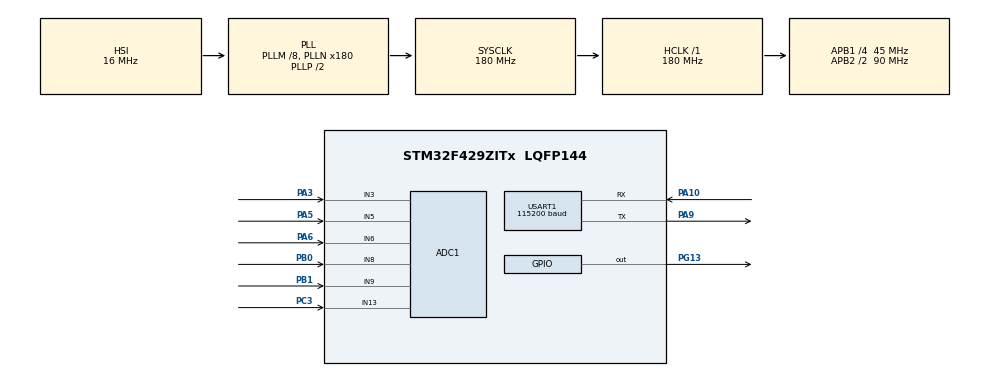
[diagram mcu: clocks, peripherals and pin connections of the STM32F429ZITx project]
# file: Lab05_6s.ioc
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ADC1.Channel-0\#ChannelRegularConversion=ADC_CHANNEL_13
ADC1.Channel-1\#ChannelRegularConversion=ADC_CHANNEL_3
ADC1.Channel-2\#ChannelRegularConversion=ADC_CHANNEL_5
ADC1.Channel-3\#ChannelRegularConversion=ADC_CHANNEL_9
ADC1.Channel-4\#ChannelRegularConversion=ADC_CHANNEL_6
ADC1.Channel-5\#ChannelRegularConversion=ADC_CHANNEL_8
ADC1.ClockPrescaler=ADC_CLOCK_SYNC_PCLK_DIV8
ADC1.ContinuousConvMode=ENABLE
ADC1.DMAContinuousRequests=ENABLE
ADC1.NbrOfConversion=6
ADC1.NbrOfConversionFlag=1
ADC1.Rank-0\#ChannelRegularConversion=1
ADC1.Rank-1\#ChannelRegularConversion=2
ADC1.Rank-2\#ChannelRegularConversion=3
ADC1.Rank-3\#ChannelRegularConversion=4
ADC1.Rank-4\#ChannelRegularConversion=5
ADC1.Rank-5\#ChannelRegularConversion=6
ADC1.SamplingTime-0\#ChannelRegularConversion=ADC_SAMPLETIME_480CYCLES
ADC1.SamplingTime-1\#ChannelRegularConversion=ADC_SAMPLETIME_480CYCLES
ADC1.SamplingTime-2\#ChannelRegularConversion=ADC_SAMPLETIME_480CYCLES
ADC1.SamplingTime-3\#ChannelRegularConversion=ADC_SAMPLETIME_480CYCLES
ADC1.SamplingTime-4\#ChannelRegularConversion=ADC_SAMPLETIME_480CYCLES
ADC1.SamplingTime-5\#ChannelRegularConversion=ADC_SAMPLETIME_480CYCLES
ADC1.ScanConvMode=ENABLE
ADC1.master=1
Dma.ADC1.0.Direction=DMA_PERIPH_TO_MEMORY
Dma.ADC1.0.FIFOMode=DMA_FIFOMODE_DISABLE
Dma.ADC1.0.Instance=DMA2_Stream0
Dma.ADC1.0.MemDataAlignment=DMA_MDATAALIGN_WORD
Dma.ADC1.0.MemInc=DMA_MINC_ENABLE
Dma.ADC1.0.Mode=DMA_CIRCULAR
Dma.ADC1.0.PeriphDataAlignment=DMA_PDATAALIGN_WORD
Dma.ADC1.0.PeriphInc=DMA_PINC_DISABLE
Dma.ADC1.0.Priority=DMA_PRIORITY_LOW
Dma.Request0=ADC1
Mcu.Family=STM32F4
Mcu.Name=STM32F429ZITx
Mcu.Package=LQFP144
NVIC.DMA2_Stream0_IRQn=true\:1\:0\:true\:false\:true\:false\:true
NVIC.PriorityGroup=NVIC_PRIORITYGROUP_2
PA10.Mode=Asynchronous
PA10.Signal=USART1_RX
PA3.Signal=ADCx_IN3
PA5.Signal=ADCx_IN5
PA6.Signal=ADCx_IN6
PA9.Mode=Asynchronous
PA9.Signal=USART1_TX
PB0.Signal=ADCx_IN8
PB1.Signal=ADCx_IN9
PC3.Signal=ADCx_IN13
PG13.GPIO_PuPd=GPIO_NOPULL
PG13.Signal=GPIO_Output
ProjectManager.HeapSize=0x200
ProjectManager.StackSize=0x400
ProjectManager.TargetToolchain=STM32CubeIDE
RCC.48MHZClocksFreq_Value=90000000
RCC.AHBFreq_Value=180000000
RCC.APB1CLKDivider=RCC_HCLK_DIV4
RCC.APB1Freq_Value=45000000
RCC.APB1TimFreq_Value=90000000
RCC.APB2CLKDivider=RCC_HCLK_DIV2
RCC.APB2Freq_Value=90000000
RCC.APB2TimFreq_Value=180000000
RCC.CortexFreq_Value=180000000
RCC.HCLKFreq_Value=180000000
RCC.HSE_VALUE=25000000
RCC.HSI_VALUE=16000000
RCC.LSE_VALUE=32768
RCC.PLLM=8
RCC.PLLN=180
RCC.SYSCLKFreq_VALUE=180000000
RCC.SYSCLKSource=RCC_SYSCLKSOURCE_PLLCLK
RCC.VCOOutputFreq_Value=360000000
SH.ADCx_IN13.0=ADC1_IN13,IN13
SH.ADCx_IN3.0=ADC1_IN3,IN3
SH.ADCx_IN5.0=ADC1_IN5,IN5
SH.ADCx_IN6.0=ADC1_IN6,IN6
SH.ADCx_IN8.0=ADC1_IN8,IN8
SH.ADCx_IN9.0=ADC1_IN9,IN9
USART1.BaudRate=115200
USART1.VirtualMode=VM_ASYNC
board=custom

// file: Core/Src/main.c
/* USER CODE BEGIN Header */
/**
  ******************************************************************************
  * @file           : main.c
  * @brief          : Main program body
  ******************************************************************************
  * @attention
  *
  * <h2><center>&copy; Copyright (c) 2021 STMicroelectronics.
  * All rights reserved.</center></h2>
  *
  * This software component is licensed by ST under BSD 3-Clause license,
  * the "License"; You may not use this file except in compliance with the
  * License. You may obtain a copy of the License at:
  *                        opensource.org/licenses/BSD-3-Clause
  *
  ******************************************************************************
  */
/* USER CODE END Header */
#include "main.h"
#include "adc.h"
#include "dma.h"
#include "usart.h"
#include "gpio.h"

void SystemClock_Config(void);

/* USER CODE BEGIN 0 */

uint8_t ch = 6;
uint32_t adc_val[6];
uint32_t num[6] = {13,3,5,9,6,8};

void displayHEX(uint32_t value[]){

	char hexString[60];

	for(uint8_t i = 0; i<ch; i++){
		sprintf(hexString,"ADC1_CH%d 0x%08X Vin = %.2f V RawValue = %d\r\n",num[i], value[i], value[i]*3.3/4096.0, value[i]);
		HAL_UART_Transmit(&huart1, (uint8_t*) hexString, strlen(hexString), 1000);
	}

	sprintf(hexString,"------------------------------------------\r\n");
	HAL_UART_Transmit(&huart1, (uint8_t*) hexString, strlen(hexString), 1000);

}

/* USER CODE END 0 */

int main(void)
{

  /* MCU Configuration--------------------------------------------------------*/

  /* Reset of all peripherals, Initializes the Flash interface and the Systick. */
  HAL_Init();

  /* Configure the system clock */
  SystemClock_Config();

  /* Initialize all configured peripherals */
  MX_GPIO_Init();
  MX_DMA_Init();
  MX_ADC1_Init();
  MX_USART1_UART_Init();
  /* USER CODE BEGIN 2 */

  char hexString[80];
  sprintf(hexString,"------------------------------------------\r\n");
  HAL_UART_Transmit(&huart1, (uint8_t*) hexString, strlen(hexString), 100);

  HAL_ADC_Start_DMA(&hadc1, adc_val, ch);

  /* USER CODE END 2 */

  /* Infinite loop */
  /* USER CODE BEGIN WHILE */
  while (1)
  {

//	displayHEX(adc_val);
//	HAL_Delay(150);

    /* USER CODE END WHILE */

  }
}

void SystemClock_Config(void)
{
  RCC_OscInitTypeDef RCC_OscInitStruct = {0};
  RCC_ClkInitTypeDef RCC_ClkInitStruct = {0};

  /** Configure the main internal regulator output voltage
  */
  __HAL_RCC_PWR_CLK_ENABLE();
  __HAL_PWR_VOLTAGESCALING_CONFIG(PWR_REGULATOR_VOLTAGE_SCALE1);
  /** Initializes the RCC Oscillators according to the specified parameters
  * in the RCC_OscInitTypeDef structure.
  */
  RCC_OscInitStruct.OscillatorType = RCC_OSCILLATORTYPE_HSI;
  RCC_OscInitStruct.HSIState = RCC_HSI_ON;
  RCC_OscInitStruct.HSICalibrationValue = RCC_HSICALIBRATION_DEFAULT;
  RCC_OscInitStruct.PLL.PLLState = RCC_PLL_ON;
  RCC_OscInitStruct.PLL.PLLSource = RCC_PLLSOURCE_HSI;
  RCC_OscInitStruct.PLL.PLLM = 8;
  RCC_OscInitStruct.PLL.PLLN = 180;
  RCC_OscInitStruct.PLL.PLLP = RCC_PLLP_DIV2;
  RCC_OscInitStruct.PLL.PLLQ = 4;
  if (HAL_RCC_OscConfig(&RCC_OscInitStruct) != HAL_OK)
  {
    Error_Handler();
  }
  /** Activate the Over-Drive mode
  */
  if (HAL_PWREx_EnableOverDrive() != HAL_OK)
  {
    Error_Handler();
  }
  /** Initializes the CPU, AHB and APB buses clocks
  */
  RCC_ClkInitStruct.ClockType = RCC_CLOCKTYPE_HCLK|RCC_CLOCKTYPE_SYSCLK
                              |RCC_CLOCKTYPE_PCLK1|RCC_CLOCKTYPE_PCLK2;
  RCC_ClkInitStruct.SYSCLKSource = RCC_SYSCLKSOURCE_PLLCLK;
  RCC_ClkInitStruct.AHBCLKDivider = RCC_SYSCLK_DIV1;
  RCC_ClkInitStruct.APB1CLKDivider = RCC_HCLK_DIV4;
  RCC_ClkInitStruct.APB2CLKDivider = RCC_HCLK_DIV2;

  if (HAL_RCC_ClockConfig(&RCC_ClkInitStruct, FLASH_LATENCY_5) != HAL_OK)
  {
    Error_Handler();
  }
}

/* USER CODE BEGIN 4 */

void HAL_ADC_ConvHalfCpltCallback(ADC_HandleTypeDef* hadc){

	HAL_GPIO_WritePin(GPIOG, GPIO_PIN_13, 1);
	HAL_Delay(100);

	displayHEX(adc_val);

}
void HAL_ADC_ConvCpltCallback(ADC_HandleTypeDef* hadc){

	HAL_GPIO_WritePin(GPIOG, GPIO_PIN_13, 0);
	HAL_Delay(100);

	displayHEX(adc_val);

	//HAL_ADC_Start_DMA(&hadc1, adc_val, ch);
}

/* USER CODE END 4 */

void Error_Handler(void)
{
  __disable_irq();
  while (1)
  {
  }
}

/************************ (C) COPYRIGHT STMicroelectronics *****END OF FILE****/
